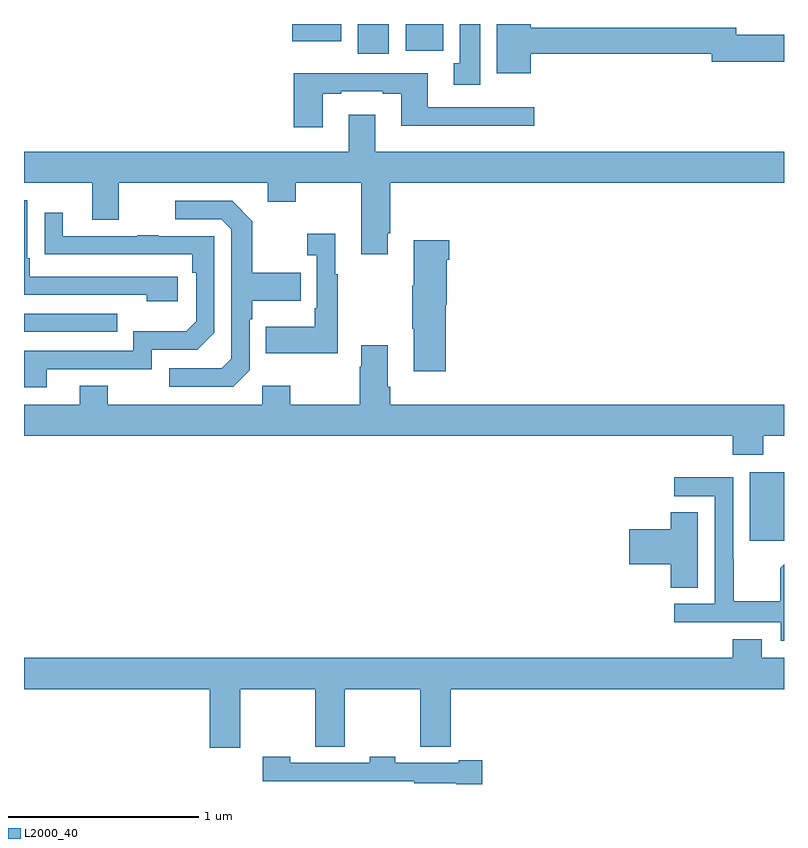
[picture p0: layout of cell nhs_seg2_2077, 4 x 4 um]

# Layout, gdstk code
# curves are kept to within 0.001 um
import gdstk
lib = gdstk.Library(unit=1e-6, precision=1e-09)
def R(c, l, rs):  # rectangles x0, y0, x1, y1
    for r in rs: c.add(gdstk.rectangle(r[:2], r[2:], *l))
def P(c, l, *ps):  # polygons
    for p in ps: c.add(gdstk.Polygon(p, *l))
L2000_40 = (2000, 40)

nhs_seg2_2077 = lib.new_cell('nhs_seg2_2077')
R(nhs_seg2_2077, L2000_40, [(222.821,651.081,223,651.442), (219,652.179,219.491,652.275), (220.757,653.643,220.921,653.8), (221.009,653.66,221.206,653.8), (220.411,653.708,220.669,653.8)])
P(nhs_seg2_2077, L2000_40, [(221.401,653.8),(221.294,653.8),(221.294,653.594),(221.261,653.594),(221.261,653.481),(221.401,653.481)],
  [(221.668,653.644),(222.62,653.644),(222.62,653.602),(223,653.602),(223,653.744),(222.748,653.744),(222.748,653.78),(221.668,653.78),(221.668,653.8),(221.489,653.8),(221.489,653.54),(221.668,653.54)],
  [(220.573,653.433),(220.669,653.433),(220.669,653.445),(220.889,653.445),(220.889,653.433),(220.985,653.433),(220.985,653.264),(221.686,653.264),(221.686,653.361),(221.125,653.361),(221.125,653.541),(220.665,653.541),(220.665,653.542),(220.421,653.542),(220.421,653.256),(220.573,653.256)],
  [(220.915,652.699),(220.928,652.699),(220.928,652.964),(223,652.964),(223,653.128),(220.849,653.128),(220.849,653.323),(220.709,653.323),(220.709,653.128),(219,653.128),(219,652.964),(219.359,652.964),(219.359,652.77),(219.499,652.77),(219.499,652.964),(220.283,652.964),(220.283,652.865),(220.431,652.865),(220.431,652.964),(220.775,652.964),(220.775,652.587),(220.915,652.587)],
  [(219.808,652.47),(219.031,652.47),(219.031,652.567),(219.018,652.567),(219.018,652.872),(219,652.872),(219,652.374),(219.647,652.374),(219.647,652.34),(219.808,652.34)],
  [(220.188,651.978),(220.188,652.247),(220.201,652.247),(220.201,652.343),(220.457,652.343),(220.457,652.491),(220.201,652.491),(220.201,652.763),(220.095,652.869),(219.795,652.869),(219.795,652.773),(220.038,652.773),(220.092,652.719),(220.092,652.038),(220.041,651.987),(219.765,651.987),(219.765,651.891),(220.101,651.891)],
  [(219.121,651.984),(219.672,651.984),(219.672,652.086),(219.912,652.086),(220.002,652.176),(220.002,652.683),(219.707,652.683),(219.707,652.688),(219.595,652.688),(219.595,652.683),(219.205,652.683),(219.205,652.807),(219.109,652.807),(219.109,652.588),(219.886,652.587),(219.886,652.49),(219.906,652.49),(219.906,652.236),(219.853,652.183),(219.576,652.183),(219.576,652.08),(219,652.08),(219,651.888),(219.121,651.888)],
  [(220.651,652.483),(220.639,652.483),(220.639,652.696),(220.491,652.696),(220.491,652.583),(220.542,652.583),(220.542,652.303),(220.53,652.303),(220.53,652.207),(220.273,652.207),(220.273,652.067),(220.651,652.067)],
  [(221.219,652.323),(221.224,652.323),(221.224,652.559),(221.237,652.559),(221.237,652.663),(221.051,652.663),(221.051,652.423),(221.044,652.423),(221.044,652.195),(221.051,652.195),(221.051,651.972),(221.219,651.972)],
  [(222.731,651.533),(222.891,651.533),(222.891,651.632),(223,651.632),(223,651.796),(220.928,651.796),(220.928,651.892),(220.915,651.892),(220.915,652.108),(220.775,652.108),(220.775,651.995),(220.768,651.995),(220.768,651.796),(220.401,651.796),(220.401,651.895),(220.254,651.895),(220.254,651.796),(219.441,651.796),(219.441,651.895),(219.293,651.895),(219.293,651.796),(219,651.796),(219,651.632),(222.731,651.632)],
  [(223,650.956),(222.979,650.935),(222.979,650.761),(222.735,650.761),(222.735,650.984),(222.732,650.984),(222.732,651.414),(222.423,651.414),(222.423,651.315),(222.636,651.315),(222.636,650.748),(222.423,650.748),(222.423,650.652),(222.984,650.652),(222.984,650.555),(223,650.555)],
  [(222.547,651.23),(222.404,651.23),(222.404,651.14),(222.186,651.14),(222.186,650.957),(222.404,650.957),(222.404,650.833),(222.547,650.833)],
  [(223,650.464),(222.883,650.464),(222.883,650.563),(222.731,650.563),(222.731,650.464),(219,650.464),(219,650.3),(219.977,650.3),(219.977,649.992),(220.137,649.992),(220.137,650.3),(220.534,650.3),(220.534,649.996),(220.688,649.996),(220.688,650.3),(221.086,650.3),(221.086,649.996),(221.246,649.996),(221.246,650.3),(223,650.3)],
  [(221.411,649.924),(221.288,649.924),(221.288,649.911),(220.953,649.911),(220.953,649.944),(220.821,649.944),(220.821,649.911),(220.401,649.911),(220.401,649.944),(220.257,649.944),(220.257,649.815),(221.053,649.815),(221.053,649.803),(221.275,649.803),(221.275,649.8),(221.411,649.8)])

lib.write_gds('nhs_seg2_2077.gds')
